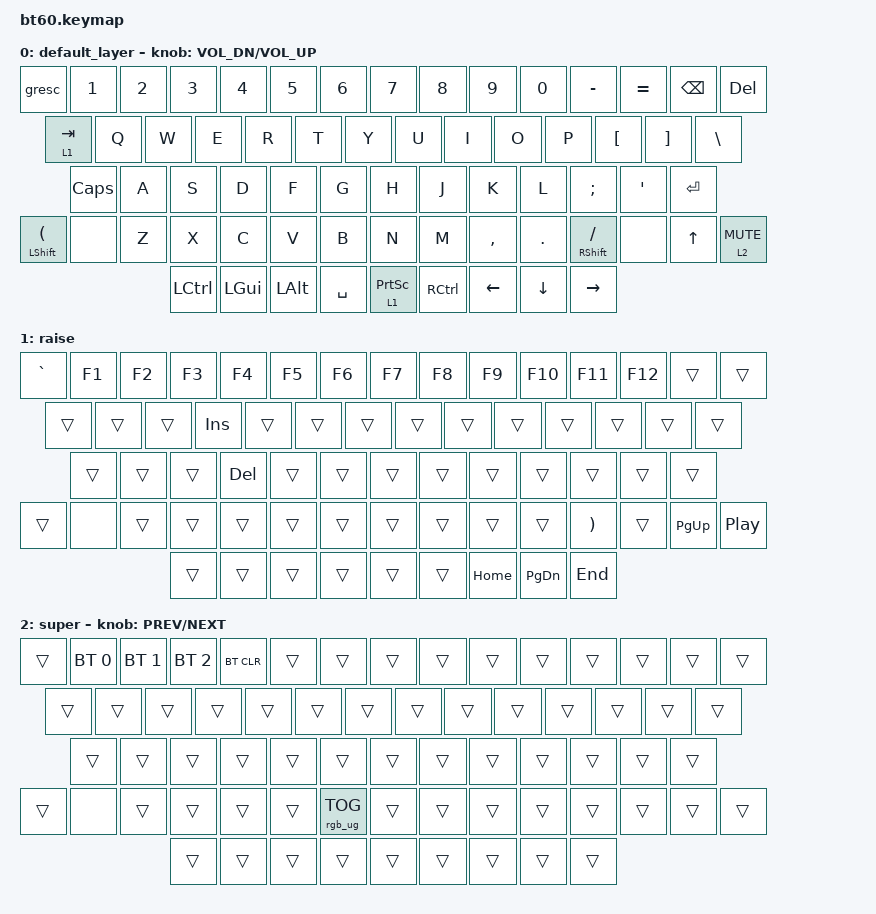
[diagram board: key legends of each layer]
#include <behaviors.dtsi>
#include <dt-bindings/zmk/keys.h>
#include <dt-bindings/zmk/bt.h>
#include <dt-bindings/zmk/rgb.h>
#include <dt-bindings/zmk/backlight.h>

/ {
	keymap {
		compatible = "zmk,keymap";

		default_layer {
				// ------------------------------------------------------------------------------------------
				// | ESC |  1  |  2  |  3  |  4  |  5  |  6  |  7  |  8  |  9  |  0  |  -  |  =  |BKSP | DEL |
				// | TAB  |  Q  |  W  |  E  |  R  |  T  |  Y  |  U  |  I  |  O  |  P  |  [  |  ]  |  |   |
				// | CAPS  |  A  |  S  |  D  |  F  |  G  |  H  |  J  |  K  |  L  |  ;  |  '  |     ENTER    |
				// |  SHIFT|NONE|  Z  |  X  |  C  |  V  |  B  |  N  |  M  |  ,  |  .  | /   | SHFT | UP | 1  |
				// |  CTL  |  WIN  |  ALT  |            SPACE              | ALT | CTRL | LEFT | DOWN | RIGHT |
				// ------------------------------------------------------------------------------------------
			bindings = <
				&gresc &kp N1 &kp N2 &kp N3 &kp N4 &kp N5 &kp N6 &kp N7 &kp  N8   &kp  N9 &kp  N0  &kp MINUS &kp EQUAL &kp BSPC &kp DEL
				&lt 1 TAB  &kp Q  &kp W  &kp E  &kp R  &kp T  &kp Y  &kp U  &kp  I    &kp  O  &kp  P   &kp LBKT &kp RBKT  &kp BSLH
				&kp CLCK  &kp A  &kp S  &kp D  &kp F  &kp G  &kp H  &kp J  &kp  K    &kp  L  &kp SEMI &kp SQT           &kp RET
				&mt LSHFT LPAR &none  &kp Z  &kp X  &kp C  &kp V  &kp B  &kp N  &kp M  &kp COMMA &kp DOT &mt RSHFT FSLH    &none &kp UP   &lt 2 C_MUTE
				&kp LCTRL &kp LGUI &kp LALT            &kp SPACE                          &lt 1 PSCRN  &kp RCTRL &kp LEFT &kp DOWN &kp RIGHT
			>;
			sensor-bindings = <&inc_dec_kp C_VOL_DN C_VOL_UP>;
		};
		raise {
			bindings = <
				&kp GRAVE &kp F1 &kp F2 &kp F3 &kp F4 &kp F5 &kp F6 &kp F7 &kp  F8   &kp  F9 &kp  F10  &kp F11 &kp F12   &trans &trans
				&trans &trans &trans &kp INS &trans &trans &trans &trans &trans &trans &trans &trans &trans &trans
				&trans    &trans &trans &kp DEL &trans &trans &trans &trans &trans &trans &trans  &trans   &trans
				&trans &none &trans &trans &trans &trans &trans &trans &trans &trans &trans &kp RPAR &trans  &kp PG_UP &kp C_PP
				&trans &trans  &trans              &trans                            &trans  &trans &kp HOME   &kp PG_DN &kp END
			>;
		};
		super {
			bindings = <
				&trans &bt BT_SEL 0 &bt BT_SEL 1 &bt BT_SEL 2 &bt BT_CLR &trans &trans &trans &trans   &trans &trans  &trans &trans   &trans &trans
				&trans &trans &trans &trans &trans &trans &trans &trans &trans &trans &trans &trans &trans &trans
				&trans    &trans &trans &trans &trans &trans &trans &trans &trans &trans &trans  &trans   &trans
				&trans &none &trans &trans &trans &trans &rgb_ug RGB_TOG &trans &trans &trans &trans &trans  &trans  &trans &trans
				&trans &trans  &trans              &trans                            &trans  &trans &trans   &trans &trans
			>;
			sensor-bindings = <&inc_dec_kp C_PREV C_NEXT>;
		};
	};
};
